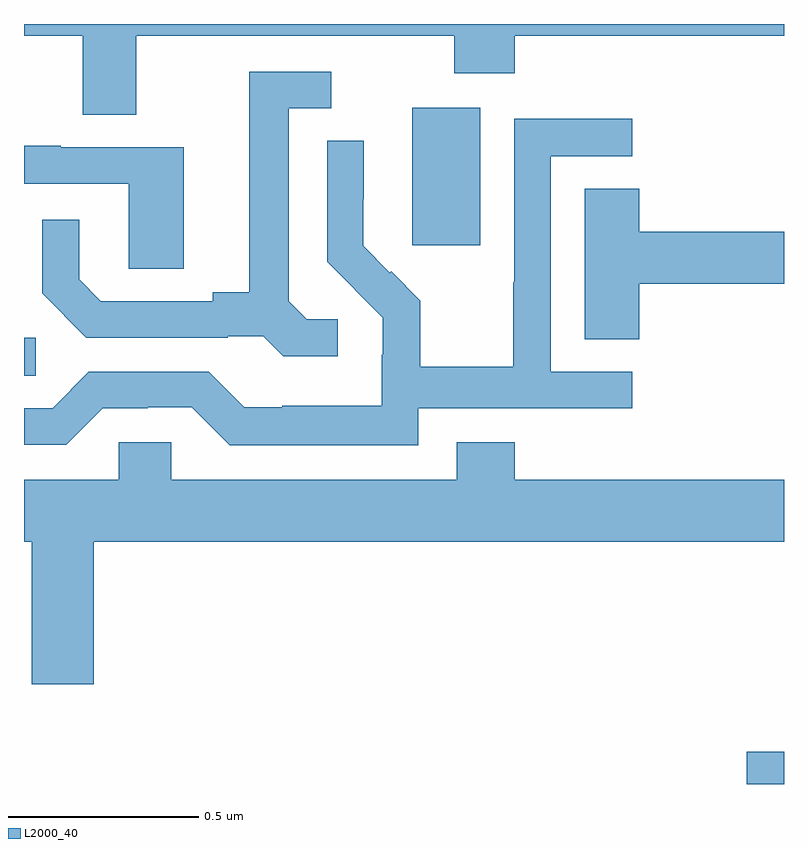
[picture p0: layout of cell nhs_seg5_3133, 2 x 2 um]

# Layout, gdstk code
import gdstk
lib = gdstk.Library(unit=1e-6, precision=1e-09)
def R(c, l, rs):  # rectangles x0, y0, x1, y1
    for r in rs: c.add(gdstk.rectangle(r[:2], r[2:], *l))
def P(c, l, *ps):  # polygons
    for p in ps: c.add(gdstk.Polygon(p, *l))
L2000_40 = (2000, 40)

nhs_seg5_3133 = lib.new_cell('nhs_seg5_3133')
R(nhs_seg5_3133, L2000_40, [(154.902,846.799,155,846.884), (153,847.873,153.031,847.974), (154.022,848.217,154.201,848.578)])
P(nhs_seg5_3133, L2000_40, [(153,848.768),(153.155,848.768),(153.155,848.56),(153.295,848.56),(153.295,848.768),(154.132,848.768),(154.132,848.669),(154.292,848.669),(154.292,848.768),(155,848.768),(155,848.799),(153,848.799)],
  [(153.826,848.022),(153.744,848.022),(153.697,848.069),(153.697,848.577),(153.808,848.577),(153.808,848.673),(153.593,848.673),(153.593,848.093),(153.497,848.093),(153.497,848.07),(153.202,848.07),(153.145,848.127),(153.145,848.284),(153.048,848.284),(153.048,848.09),(153.164,847.974),(153.536,847.974),(153.536,847.977),(153.63,847.977),(153.682,847.925),(153.826,847.925)],
  [(154.038,847.788),(154.6,847.788),(154.6,847.884),(154.386,847.884),(154.386,848.451),(154.6,848.451),(154.6,848.55),(154.29,848.55),(154.29,848.12),(154.288,848.12),(154.288,847.897),(154.043,847.897),(154.043,848.071),(153.966,848.148),(153.963,848.145),(153.893,848.216),(153.893,848.338),(153.894,848.338),(153.894,848.492),(153.798,848.492),(153.798,848.174),(153.871,848.101),(153.87,848.1),(153.944,848.026),(153.944,847.929),(153.942,847.929),(153.942,847.795),(153.679,847.795),(153.679,847.791),(153.579,847.791),(153.486,847.884),(153.171,847.884),(153.075,847.788),(153,847.788),(153,847.692),(153.111,847.692),(153.207,847.788),(153.326,847.788),(153.326,847.791),(153.441,847.791),(153.541,847.691),(154.038,847.691)],
  [(153.421,848.475),(153.097,848.475),(153.097,848.479),(153,848.479),(153,848.379),(153.276,848.379),(153.276,848.155),(153.421,848.155)],
  [(154.619,848.116),(155,848.116),(155,848.252),(154.619,848.252),(154.619,848.366),(154.475,848.366),(154.475,847.969),(154.619,847.969)],
  [(153.184,847.436),(155,847.436),(155,847.6),(154.292,847.6),(154.292,847.699),(154.139,847.699),(154.139,847.6),(153.387,847.6),(153.387,847.698),(153.249,847.698),(153.249,847.6),(153,847.6),(153,847.436),(153.02,847.436),(153.02,847.062),(153.184,847.062)])

lib.write_gds('nhs_seg5_3133.gds')
